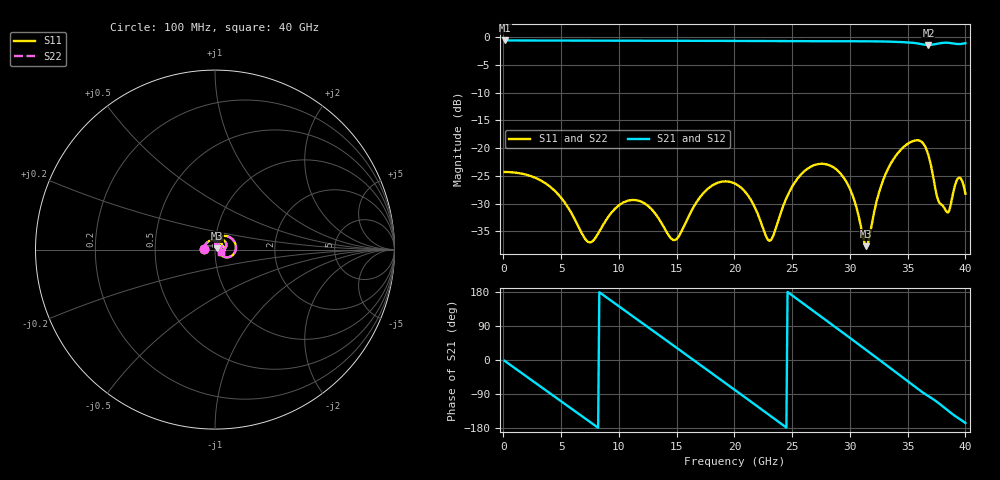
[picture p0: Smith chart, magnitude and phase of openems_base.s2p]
! T_vna6_cpwg_10: Coplanar waveguide with ground, LibreVNA RF class (w 0.35, gap 0.18 mm), 10 mm
! stackup: LibreVNA 6-layer (7628 / FR-4, from the board file)
! ports: 1 near A, 2 far A
! openEMS 0.37.0, staircase, base mesh (dfine 0.035 mm), 683520 cells
# Hz S RI R 50
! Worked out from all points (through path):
!   400 points, 100 MHz to 40 GHz, reference 50 ohm
!   highest |S21| = -0.55 dB at 100 MHz (marker M1); lowest = -1.4 dB at 36.8 GHz (marker M2)
!   group delay of S21, straight-line fit = 61.6 ps
!   lowest |S11| = -37.7 dB at 31.4 GHz (marker M3), VSWR 1.03, Z = 51 + j0.798 ohm
!   |S11| at or under -10 dB: start of sweep to end of sweep
!   |S22| runs from -37.7 to -18.6 dB; largest |S21 - S12| = 0
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1e8  -0.0609 0.00295  0.9381 -0.0358  0.9381 -0.0358  -0.0609 0.00295
1.7e9  -0.0401 0.0425  0.7478 -0.5664  0.7478 -0.5664  -0.0401 0.0425
3.6e9  0.00378 0.0483  0.1854 -0.918  0.1854 -0.918  0.00378 0.0483
5.1e9  0.0197 0.0283  -0.3394 -0.8719  -0.3394 -0.8719  0.0197 0.0283
6.8e9  0.0114 0.0125  -0.7961 -0.4909  -0.7961 -0.4909  0.0114 0.0125
9.6e9  0.00402 0.0277  -0.8133 0.4605  -0.8133 0.4605  0.00402 0.0277
1.16e10  0.02 0.0272  -0.2683 0.8945  -0.2683 0.8945  0.02 0.0272
1.34e10  0.0193 0.0134  0.3613 0.8607  0.3613 0.8607  0.0193 0.0134
1.49e10  0.00655 0.0134  0.7711 0.5253  0.7711 0.5253  0.00655 0.0134
1.67e10  0.00282 0.0322  0.9279 -0.0875  0.9279 -0.0875  0.00282 0.0322
2.01e10  0.039 0.0272  0.1546 -0.9171  0.1546 -0.9171  0.039 0.0272
2.29e10  0.0113 0.00977  -0.7383 -0.5648  -0.7383 -0.5648  0.0113 0.00977
2.37e10  0.00286 0.0204  -0.8754 -0.3112  -0.8754 -0.3112  0.00286 0.0204
2.67e10  0.0397 0.0561  -0.6254 0.6814  -0.6254 0.6814  0.0397 0.0561
2.9e10  0.0605 0.0132  0.1444 0.912  0.1444 0.912  0.0605 0.0132
3.14e10  0.0104 0.00782  0.8247 0.4142  0.8247 0.4142  0.0104 0.00782
3.34e10  0.02 0.0653  0.8654 -0.3008  0.8654 -0.3008  0.02 0.0653
3.52e10  0.0966 0.0582  0.4399 -0.783  0.4399 -0.783  0.0966 0.0582
3.68e10  0.0751 -0.0422  -0.0801 -0.8504  -0.0801 -0.8504  0.0751 -0.0422
3.84e10  0.0264 0.00134  -0.5898 -0.6741  -0.5898 -0.6741  0.0264 0.00134
3.94e10  0.0531 0.00916  -0.781 -0.3859  -0.781 -0.3859  0.0531 0.00916
4e10  0.0358 -0.015  -0.8618 -0.2112  -0.8618 -0.2112  0.0358 -0.015
